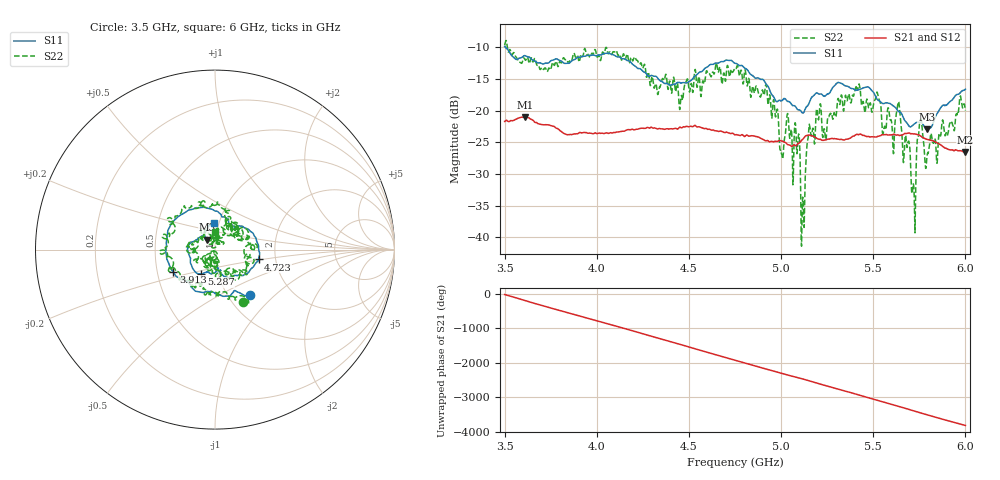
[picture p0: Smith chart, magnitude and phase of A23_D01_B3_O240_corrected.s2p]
! Created with skrf 1.9.0 (http://scikit-rf.org).
# Hz S RI R 50.0
!freq ReS11 ImS11 ReS21 ImS21 ReS12 ImS12 ReS22 ImS22
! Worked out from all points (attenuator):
!   1601 points, 3.5 GHz to 6 GHz, reference 50 ohm
!   highest |S21| = -21.02 dB at 3.609 GHz (marker M1); lowest = -26.6 dB at 6 GHz (marker M2)
!   lowest |S11| = -23.0 dB at 5.791 GHz (marker M3), VSWR 1.15, Z = 45.5 + j5.1 ohm
!   |S11| at or under -10 dB: 3.504 GHz to end of sweep
!   |S22| runs from -41.4 to -8.9 dB; largest |S21 - S12| = 0.0013
!   S11 on the Smith chart (normalised r, x): 3.5 GHz: 1.26, -0.72; 3.913 GHz: 0.61, -0.16; 4.723 GHz: 1.63, -0.19; 5.287 GHz: 0.83, -0.23; 6 GHz: 0.94, +0.28
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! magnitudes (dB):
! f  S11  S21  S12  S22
! 3.5 GHz  -9.9  -21.7  -21.7  -9.7
! 3.609 GHz  -11.3  -21.0  -21.0  -11.9
! 3.913 GHz  -11.6  -23.5  -23.5  -11.3
! 3.917 GHz  -11.5  -23.5  -23.5  -11.2
! 4.334 GHz  -15.0  -22.9  -22.8  -17.2
! 4.723 GHz  -12.1  -23.6  -23.6  -14.5
! 4.75 GHz  -12.5  -23.8  -23.8  -13.5
! 4.927 GHz  -16.1  -24.7  -24.7  -18.2
! 5.003 GHz  -18.5  -24.8  -24.8  -26.9
! 5.031 GHz  -18.5  -25.3  -25.2  -21.0
! 5.086 GHz  -19.7  -25.4  -25.4  -26.8
! 5.117 GHz  -20.4  -24.5  -24.5  -33.7
! 5.145 GHz  -19.2  -23.9  -23.9  -24.5
! 5.167 GHz  -17.9  -24.0  -24.0  -23.7
! 5.287 GHz  -16.2  -24.4  -24.4  -20.3
! 5.416 GHz  -16.8  -23.8  -23.8  -16.8
! 5.584 GHz  -18.9  -23.9  -23.9  -19.8
! 5.639 GHz  -20.2  -23.9  -23.9  -18.7
! 5.717 GHz  -22.2  -23.7  -23.6  -31.6
! 5.752 GHz  -21.9  -23.9  -23.9  -21.9
! 5.791 GHz  -23.0  -24.5  -24.5  -27.6
! 6 GHz  -16.6  -26.6  -26.5  -20.0
